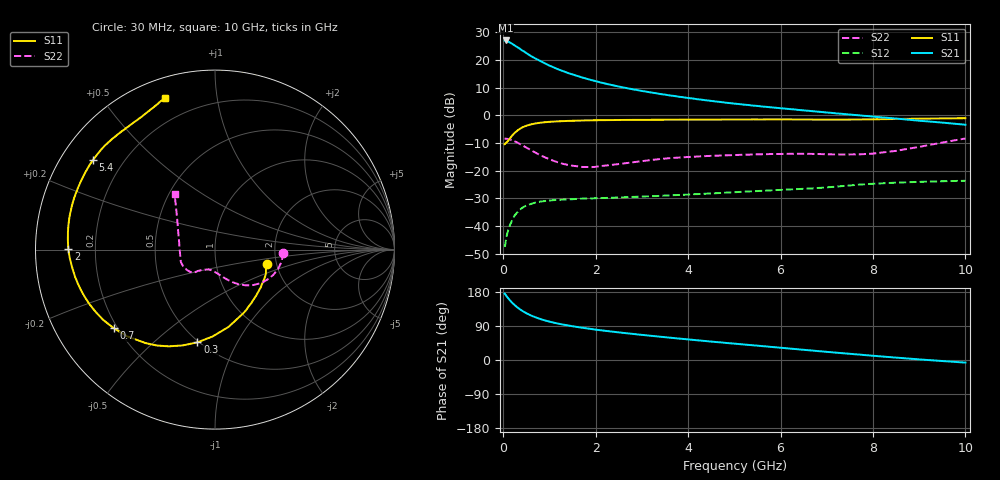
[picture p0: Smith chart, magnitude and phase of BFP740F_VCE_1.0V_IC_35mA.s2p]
! Infineon Technologies  Discrete & RF Semiconductors
! BFP740F
! VCE =  1.0 V,  IC =  35 mA
! Common Emitter S-Parameters:  Oct 2012
# GHz  S  MA  R  50
!  f  S11  S21  S12  S22
! GHz  MAG  ANG  MAG  ANG  MAG  ANG  MAG  ANG
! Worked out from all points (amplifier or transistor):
!   99 points, 30 MHz to 10 GHz, reference 50 ohm
!   highest |S21| = 27.1 dB at 50 MHz (marker M1)
!   |S21| within 3 dB of that: start of sweep to 359.1 MHz
!   unconditionally stable (mu >= 1): start of sweep to 349.7 MHz; 1.348 GHz to end of sweep
!   at 350 MHz: K = 1.00, MSG = 29.3 dB, |S12| = -34.3 dB
!   at 3.5 GHz: K = 1.72, MAG = 13.3 dB, |S12| = -29.0 dB
!   at 10 GHz: K = 2.29, MAG = 3.7 dB, |S12| = -23.7 dB
!   S11 on the Smith chart (normalised r, x): 30 MHz: 1.78, -0.32; 300 MHz: 0.49, -0.70; 700 MHz: 0.19, -0.33; 2 GHz: 0.10, +0.00; 5.4 GHz: 0.09, +0.32; 10 GHz: 0.09, +0.72
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0.03  0.3014 -15.8  22.55 175.4  0.0044 27.9  0.3782 -2.7
0.05  0.3136 -25.2  22.67 172.3  0.005 38.4  0.3778 -5.5
0.1  0.3434 -47.8  21.81 164.2  0.0079 50.6  0.3743 -11.9
0.15  0.3879 -65.9  20.65 156.9  0.0105 52.0  0.3651 -17.9
0.2  0.437 -80.0  19.56 150.2  0.013 53.0  0.3537 -23.6
0.3  0.526 -100.7  17.27 139.4  0.0174 47.9  0.3239 -33.9
0.4  0.5977 -115.6  15.11 130.6  0.0209 43.2  0.2919 -42.5
0.5  0.6487 -126.6  13.39 123.5  0.0234 39.1  0.2615 -49.5
0.6  0.6875 -135.3  11.84 117.5  0.025 35.3  0.2347 -55.5
0.7  0.7143 -142.2  10.65 112.6  0.0265 32.6  0.2111 -60.5
0.9  0.7509 -152.7  8.757 104.5  0.0282 28.5  0.1746 -69.3
1.1  0.773 -160.4  7.335 98.4  0.0293 25.8  0.1493 -77.2
1.4  0.7938 -168.8  5.85 91.2  0.0302 23.7  0.127 -88.7
1.7  0.8066 -175.1  4.868 85.3  0.0311 22.7  0.1167 -99.3
2  0.8166 179.9  4.164 80.2  0.0317 22.6  0.1171 -109.5
2.6  0.8264 171.9  3.197 71.5  0.0329 23.5  0.1349 -122.6
3.4  0.8339 163.0  2.434 61.4  0.035 25.1  0.1626 -130.6
5.1  0.8424 146.5  1.602 42.1  0.0411 28.6  0.1927 -143.8
5.4  0.8438 143.9  1.503 38.9  0.0424 28.9  0.196 -147.0
6.7  0.8402 131.4  1.188 24.8  0.0478 30.4  0.2007 -162.9
8.5  0.86 114.3  0.876 6.3  0.0607 26.3  0.228 154.1
10  0.8891 108.1  0.677 -6.9  0.0656 20.5  0.3822 126.1
